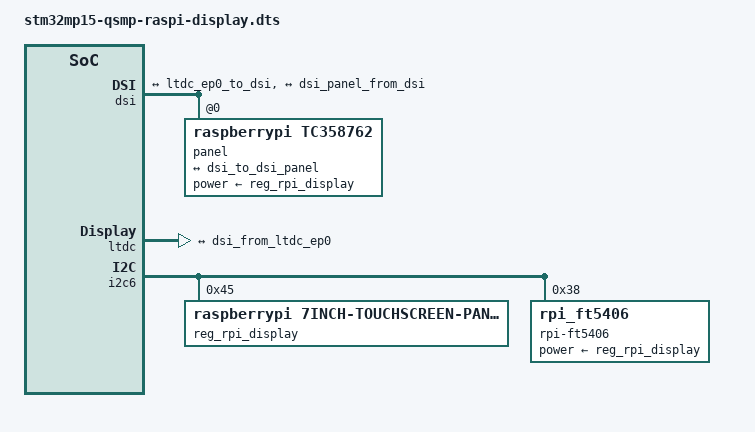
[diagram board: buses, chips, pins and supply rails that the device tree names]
// SPDX-License-Identifier: (GPL-2.0 OR BSD-3-Clause)
/*
 * Copyright (C) 2020 Markus Bauer <mb@karo-electronics.de>
 */

/dts-v1/;

/plugin/;

/ {
	#address-cells = <1>;
	#size-cells = <0>;

	fragment@0 {
		reg = <0>;
		target = <&dsi>;

		__overlay__ {
			#address-cells = <1>;
			#size-cells = <0>;
			status = "okay";

			ports {
				#address-cells = <1>;
				#size-cells = <0>;

				port@0 {
					reg = <0>;

					dsi_from_ltdc_ep0: endpoint {
						remote-endpoint = <&ltdc_ep0_to_dsi>;
					};
				};

				port@1 {
					reg = <1>;

					dsi_to_dsi_panel: endpoint {
						remote-endpoint = <&dsi_panel_from_dsi>;
					};
				};
			};

			panel@0 {
				reg = <0>;
				compatible = "raspberrypi,tc358762";
				dsi-lanes = <1>;
				video-mode = <2>;
				panel-width-mm = <154>;
				panel-height-mm = <86>;
				power-supply = <&reg_rpi_display>;
				status = "okay";

				port {
					dsi_panel_from_dsi: endpoint {
						remote-endpoint = <&dsi_to_dsi_panel>;
					};
				};
			};
		};

	};

	fragment@1 {
		reg = <1>;
		target = <&ltdc>;

		__overlay__ {
			status = "okay";

			port {
				#address-cells = <1>;
				#size-cells = <0>;

				ltdc_ep0_to_dsi: endpoint@0 {
					reg = <0>;
					remote-endpoint = <&dsi_from_ltdc_ep0>;
				};
			};
		};
	};

	fragment@2 {
		reg = <2>;
		target = <&i2c6>;

		__overlay__ {
			#address-cells = <1>;
			#size-cells = <0>;
			status = "okay";

			reg_rpi_display: regulator-rpi-display@45 {
				compatible = "raspberrypi,7inch-touchscreen-panel-regulator";
				reg = <0x45>;
				regulator-min-microvolt = <3300000>;
				regulator-max-microvolt = <3300000>;
			};

			rpi-ft5406@38 {
				compatible = "rpi_ft5406";
				reg = <0x38>;
				power-supply = <&reg_rpi_display>;
			};
		};
	};
};
